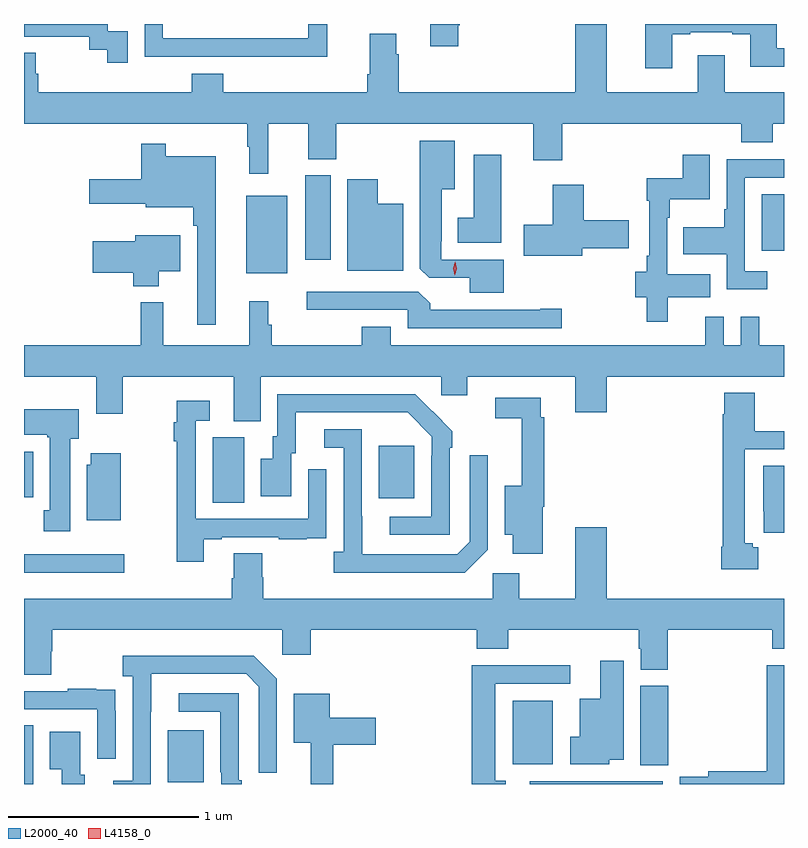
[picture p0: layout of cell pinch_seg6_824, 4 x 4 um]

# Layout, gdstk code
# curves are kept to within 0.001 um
import gdstk
lib = gdstk.Library(unit=1e-6, precision=1e-09)
def R(c, l, rs):  # rectangles x0, y0, x1, y1
    for r in rs: c.add(gdstk.rectangle(r[:2], r[2:], *l))
def P(c, l, *ps):  # polygons
    for p in ps: c.add(gdstk.Polygon(p, *l))
L2000_40 = (2000, 40)
L4158_0 = (4158, 0)

pinch_seg6_824 = lib.new_cell('pinch_seg6_824')
R(pinch_seg6_824, L2000_40, [(138.13,993.144,138.178,993.452), (140.793,993.144,141.493,993.159), (138.887,993.153,139.075,993.427), (141.374,993.244,141.521,993.66), (140.702,993.248,140.914,993.583), (138.13,994.256,138.658,994.353), (139.124,994.624,139.288,994.968), (139.997,994.649,140.185,994.924), (138.13,994.652,138.178,994.894), (139.301,995.831,139.516,996.241), (139.61,995.904,139.744,996.348), (142.013,995.951,142.13,996.247)])
P(pinch_seg6_824, L2000_40, [(140.416,997.138),(140.423,997.138),(140.423,997.144),(140.267,997.144),(140.267,997.026),(140.416,997.026)],
  [(140.102,996.986),(140.089,996.986),(140.089,997.093),(139.949,997.093),(139.949,996.88),(139.937,996.88),(139.937,996.784),(139.178,996.784),(139.178,996.883),(139.013,996.883),(139.013,996.784),(138.206,996.784),(138.206,996.882),(138.193,996.882),(138.193,996.992),(138.13,996.992),(138.13,996.62),(139.305,996.62),(139.305,996.497),(139.316,996.497),(139.316,996.357),(139.415,996.357),(139.415,996.62),(139.625,996.62),(139.625,996.433),(139.773,996.433),(139.773,996.62),(140.81,996.62),(140.81,996.426),(140.963,996.426),(140.963,996.62),(141.905,996.62),(141.905,996.521),(142.07,996.521),(142.07,996.62),(142.13,996.62),(142.13,996.784),(141.817,996.784),(141.817,996.979),(141.677,996.979),(141.677,996.784),(141.196,996.784),(141.196,997.144),(141.032,997.144),(141.032,996.784),(140.102,996.784)],
  [(138.675,997.107),(138.57,997.107),(138.57,997.144),(138.13,997.144),(138.13,997.077),(138.474,997.077),(138.474,997.009),(138.567,997.009),(138.567,996.939),(138.675,996.939)],
  [(141.541,997.089),(141.637,997.089),(141.637,997.101),(141.857,997.101),(141.857,997.089),(141.953,997.089),(141.953,996.92),(142.13,996.92),(142.13,997.017),(142.093,997.017),(142.093,997.144),(141.401,997.144),(141.401,996.912),(141.541,996.912)],
  [(139.725,997.144),(139.626,997.144),(139.626,997.068),(138.861,997.068),(138.861,997.144),(138.765,997.144),(138.765,996.972),(139.261,996.972),(139.261,996.971),(139.725,996.971)],
  [(140.656,995.904),(140.325,995.904),(140.325,996.001),(140.329,996.001),(140.329,996.275),(140.398,996.275),(140.398,996.529),(140.213,996.529),(140.213,995.857),(140.262,995.808),(140.477,995.808),(140.477,995.729),(140.656,995.729)],
  [(139.138,996.448),(138.877,996.448),(138.877,996.514),(138.748,996.514),(138.748,996.327),(138.474,996.327),(138.474,996.197),(138.771,996.197),(138.771,996.179),(139.021,996.179),(139.021,996.083),(139.041,996.083),(139.041,995.562),(139.138,995.562)],
  [(140.641,996.457),(140.498,996.457),(140.498,996.124),(140.414,996.124),(140.414,995.993),(140.641,995.993)],
  [(141.518,995.705),(141.743,995.705),(141.743,995.827),(141.516,995.827),(141.516,996.125),(141.529,996.125),(141.529,996.221),(141.739,996.221),(141.739,996.457),(141.596,996.457),(141.596,996.331),(141.408,996.331),(141.408,996.215),(141.42,996.215),(141.42,995.923),(141.408,995.923),(141.408,995.84),(141.347,995.84),(141.347,995.705),(141.408,995.705),(141.408,995.577),(141.518,995.577)],
  [(142.042,995.844),(141.924,995.844),(141.924,996.336),(142.13,996.336),(142.13,996.432),(141.828,996.432),(141.828,996.169),(141.816,996.169),(141.816,996.073),(141.601,996.073),(141.601,995.933),(141.828,995.933),(141.828,995.747),(142.042,995.747)],
  [(140.125,996.199),(139.993,996.199),(139.993,996.328),(139.832,996.328),(139.832,995.846),(140.125,995.846)],
  [(141.067,995.963),(141.313,995.963),(141.313,996.11),(141.075,996.11),(141.075,996.298),(140.912,996.298),(140.912,996.087),(140.76,996.087),(140.76,995.924),(141.067,995.924)],
  [(138.838,995.843),(138.952,995.843),(138.952,996.031),(138.716,996.031),(138.716,996.001),(138.492,996.001),(138.492,995.836),(138.704,995.836),(138.704,995.765),(138.838,995.765)],
  [(140.959,995.645),(140.846,995.645),(140.846,995.64),(140.267,995.64),(140.267,995.674),(140.205,995.736),(139.617,995.736),(139.617,995.64),(140.151,995.64),(140.151,995.544),(140.959,995.544)],
  [(139.375,995.288),(140.325,995.288),(140.325,995.19),(140.464,995.19),(140.464,995.288),(141.032,995.288),(141.032,995.1),(141.196,995.1),(141.196,995.288),(142.13,995.288),(142.13,995.452),(142.001,995.452),(142.001,995.602),(141.903,995.602),(141.903,995.452),(141.813,995.452),(141.813,995.602),(141.716,995.602),(141.716,995.452),(140.059,995.452),(140.059,995.551),(139.907,995.551),(139.907,995.452),(139.433,995.452),(139.433,995.561),(139.415,995.561),(139.415,995.686),(139.316,995.686),(139.316,995.452),(138.863,995.452),(138.863,995.68),(138.745,995.68),(138.745,995.452),(138.13,995.452),(138.13,995.288),(138.509,995.288),(138.509,995.094),(138.649,995.094),(138.649,995.288),(139.235,995.288),(139.235,995.053),(139.375,995.053)],
  [(141.995,994.391),(141.966,994.391),(141.966,994.41),(141.924,994.41),(141.924,994.905),(142.13,994.905),(142.13,995.001),(141.976,995.001),(141.976,995.203),(141.815,995.203),(141.815,995.09),(141.808,995.09),(141.808,994.392),(141.8,994.392),(141.8,994.274),(141.995,994.274)],
  [(140.37,994.913),(140.385,994.913),(140.385,995.001),(140.188,995.196),(139.464,995.196),(139.464,994.974),(139.439,994.974),(139.439,994.855),(139.376,994.855),(139.376,994.659),(139.537,994.659),(139.537,994.884),(139.561,994.884),(139.561,995.1),(140.149,995.1),(140.277,994.971),(140.277,994.871),(140.274,994.871),(140.274,994.551),(140.055,994.551),(140.055,994.455),(140.37,994.455)],
  [(140.86,994.604),(140.867,994.604),(140.867,995.075),(140.849,995.075),(140.849,995.178),(140.61,995.178),(140.61,995.07),(140.75,995.07),(140.75,994.714),(140.66,994.714),(140.66,994.457),(140.702,994.457),(140.702,994.356),(140.86,994.356)],
  [(139.075,994.431),(139.171,994.431),(139.171,994.443),(139.471,994.443),(139.471,994.431),(139.619,994.431),(139.619,994.437),(139.721,994.437),(139.721,994.546),(139.722,994.546),(139.722,994.801),(139.626,994.801),(139.626,994.539),(139.035,994.539),(139.035,995.055),(139.108,995.055),(139.108,995.161),(138.934,995.161),(138.934,995.048),(138.919,995.048),(138.919,994.948),(138.934,994.948),(138.934,994.314),(139.075,994.314)],
  [(138.373,994.962),(138.418,994.962),(138.418,995.116),(138.13,995.116),(138.13,994.982),(138.253,994.982),(138.253,994.969),(138.266,994.969),(138.266,994.586),(138.233,994.586),(138.233,994.473),(138.373,994.473)],
  [(140.571,994.377),(140.571,994.873),(140.475,994.873),(140.475,994.419),(140.409,994.353),(139.909,994.353),(139.908,995.01),(139.71,995.01),(139.71,994.914),(139.812,994.914),(139.812,994.366),(139.761,994.366),(139.761,994.256),(140.45,994.256)],
  [(138.64,994.885),(138.482,994.885),(138.482,994.824),(138.461,994.824),(138.461,994.532),(138.64,994.532)],
  [(142.13,994.82),(142.022,994.82),(142.022,994.579),(142.024,994.579),(142.024,994.467),(142.13,994.467)],
  [(138.273,993.843),(138.278,993.843),(138.278,993.956),(139.488,993.956),(139.488,993.825),(139.64,993.825),(139.64,993.956),(140.513,993.956),(140.513,993.857),(140.678,993.857),(140.678,993.956),(141.365,993.956),(141.365,993.855),(141.377,993.855),(141.377,993.745),(141.518,993.745),(141.518,993.956),(142.067,993.956),(142.067,993.857),(142.13,993.857),(142.13,994.12),(141.196,994.12),(141.196,994.495),(141.032,994.495),(141.032,994.12),(140.737,994.12),(140.737,994.252),(140.598,994.252),(140.598,994.12),(139.388,994.12),(139.388,994.233),(139.383,994.233),(139.383,994.358),(139.235,994.358),(139.235,994.226),(139.223,994.226),(139.223,994.12),(138.13,994.12),(138.13,993.718),(138.273,993.718)],
  [(138.798,993.523),(138.799,993.723),(139.299,993.723),(139.365,993.657),(139.365,993.204),(139.461,993.204),(139.461,993.699),(139.34,993.82),(138.651,993.82),(138.651,993.71),(138.702,993.71),(138.702,993.162),(138.6,993.162),(138.6,993.144),(138.798,993.144)],
  [(141.21,993.272),(141.286,993.272),(141.286,993.793),(141.164,993.793),(141.164,993.592),(141.056,993.592),(141.056,993.394),(141.005,993.394),(141.005,993.248),(141.21,993.248)],
  [(140.665,993.16),(140.611,993.16),(140.611,993.672),(141.004,993.672),(141.004,993.77),(140.486,993.77),(140.486,993.144),(140.665,993.144)],
  [(142.13,993.77),(142.04,993.77),(142.04,993.212),(141.731,993.212),(141.731,993.182),(141.582,993.182),(141.582,993.144),(142.13,993.144)],
  [(138.612,993.53),(138.611,993.53),(138.611,993.639),(138.509,993.639),(138.509,993.646),(138.361,993.646),(138.361,993.633),(138.13,993.633),(138.13,993.537),(138.516,993.537),(138.516,993.276),(138.612,993.276)],
  [(139.275,993.163),(139.26,993.163),(139.26,993.621),(138.945,993.621),(138.945,993.525),(139.164,993.525),(139.164,993.205),(139.167,993.205),(139.167,993.144),(139.275,993.144)],
  [(139.757,993.35),(139.981,993.35),(139.981,993.492),(139.738,993.492),(139.738,993.619),(139.55,993.619),(139.55,993.362),(139.64,993.362),(139.64,993.144),(139.757,993.144)],
  [(138.451,993.192),(138.427,993.192),(138.427,993.418),(138.266,993.418),(138.266,993.221),(138.329,993.221),(138.329,993.144),(138.451,993.144)])
P(pinch_seg6_824, L4158_0, [(140.396,995.822),(140.396,995.822),(140.388,995.858),(140.399,995.892),(140.399,995.893),(140.399,995.892),(140.408,995.857),(140.396,995.822)])

lib.write_gds('pinch_seg6_824.gds')
